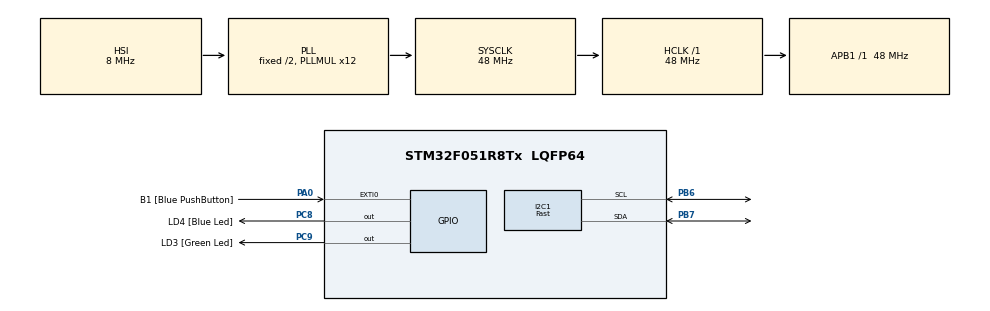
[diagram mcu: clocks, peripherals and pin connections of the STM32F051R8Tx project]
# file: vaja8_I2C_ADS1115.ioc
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I2C1.I2C_Speed_Mode=I2C_Fast
I2C1.Timing=0x0000020B
Mcu.Family=STM32F0
Mcu.Name=STM32F051R8Tx
Mcu.Package=LQFP64
PA0.GPIO_Label=B1 [Blue PushButton]
PA0.GPIO_ModeDefaultEXTI=GPIO_MODE_EVT_RISING
PA0.Signal=GPXTI0
PA13.GPIO_Label=SWDIO
PA13.Mode=Serial_Wire
PA13.Signal=SYS_SWDIO
PA14.GPIO_Label=SWCLK
PA14.Mode=Serial_Wire
PA14.Signal=SYS_SWCLK
PB6.Mode=I2C
PB6.Signal=I2C1_SCL
PB7.Mode=I2C
PB7.Signal=I2C1_SDA
PC8.GPIO_Label=LD4 [Blue Led]
PC8.Signal=GPIO_Output
PC9.GPIO_Label=LD3 [Green Led]
PC9.Signal=GPIO_Output
ProjectManager.HeapSize=0x200
ProjectManager.StackSize=0x400
ProjectManager.TargetToolchain=STM32CubeIDE
RCC.AHBFreq_Value=48000000
RCC.APB1Freq_Value=48000000
RCC.APB1TimFreq_Value=48000000
RCC.HCLKFreq_Value=48000000
RCC.PLLMUL=RCC_PLL_MUL12
RCC.SYSCLKFreq_VALUE=48000000
RCC.SYSCLKSource=RCC_SYSCLKSOURCE_PLLCLK
board=STM32F0DISCOVERY

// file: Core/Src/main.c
/* USER CODE BEGIN Header */
/**
  ******************************************************************************
  * @file           : main.c
  * @brief          : Main program body
  ******************************************************************************
  * @attention
  *
  * Copyright (c) 2022 STMicroelectronics.
  * All rights reserved.
  *
  * This software is licensed under terms that can be found in the LICENSE file
  * in the root directory of this software component.
  * If no LICENSE file comes with this software, it is provided AS-IS.
  *
  ******************************************************************************
  */
/* USER CODE END Header */
#include "main.h"

I2C_HandleTypeDef hi2c1;

void SystemClock_Config(void);
static void MX_GPIO_Init(void);
static void MX_I2C1_Init(void);

/* USER CODE BEGIN 0 */
#define ADS1115_ADDRESS 0x48
unsigned char ADSwrite[6];
int16_t reading;
float voltage[4];

const float voltageConv = 6.144/32768.0;

/* USER CODE END 0 */

int main(void)
{

  /* MCU Configuration--------------------------------------------------------*/

  /* Reset of all peripherals, Initializes the Flash interface and the Systick. */
  HAL_Init();

  /* Configure the system clock */
  SystemClock_Config();

  /* Initialize all configured peripherals */
  MX_GPIO_Init();
  MX_I2C1_Init();

  /* Infinite loop */
  while (1)
  {

    /* USER CODE BEGIN 3 */
	  for(int i=0; i<4; i++) {
		  ADSwrite[0] = 0x01;//naslov registra
		  switch(i) {// spreminjamo bite od 14 ÷ 12, str. 19:
		  	  case(0):
		  			  ADSwrite[1] = 0xC1;//binarno je 11000001
		  	  	  	  break;
		  	  case(1):
		  			  ADSwrite[1] = 0xD1;//binarno je 11010001
		  	  	  	  break;
		  	  case(2):
		  			  ADSwrite[1] = 0xE1;//binarno je 11100001
		  	  	  	  break;
		  	  case(3):
		  			  ADSwrite[1] = 0xF1;//binarno je 11110001
		  	  	  	  break;
		  }
		  ADSwrite[2] = 0x83;//to so biti od 7 ÷ 0: 10000011
		  HAL_I2C_Master_Transmit(&hi2c1, ADS1115_ADDRESS<<1,ADSwrite,3, 100);
		  ADSwrite[0] = 0x00;
		  HAL_I2C_Master_Transmit(&hi2c1, ADS1115_ADDRESS<<1,ADSwrite,1, 100);
		  HAL_Delay(20);
		  HAL_I2C_Master_Receive(&hi2c1, ADS1115_ADDRESS<<1,ADSwrite,2, 100);
		  reading = (ADSwrite[0] << 8 | ADSwrite[1]);
		  if (reading < 0 ) {
			  reading = 0;
		  }
		  voltage[i] = reading*voltageConv;
	  }
  }
  /* USER CODE END 3 */
}

void SystemClock_Config(void)
{
  RCC_OscInitTypeDef RCC_OscInitStruct = {0};
  RCC_ClkInitTypeDef RCC_ClkInitStruct = {0};
  RCC_PeriphCLKInitTypeDef PeriphClkInit = {0};

  /** Initializes the RCC Oscillators according to the specified parameters
  * in the RCC_OscInitTypeDef structure.
  */
  RCC_OscInitStruct.OscillatorType = RCC_OSCILLATORTYPE_HSI;
  RCC_OscInitStruct.HSIState = RCC_HSI_ON;
  RCC_OscInitStruct.HSICalibrationValue = RCC_HSICALIBRATION_DEFAULT;
  RCC_OscInitStruct.PLL.PLLState = RCC_PLL_ON;
  RCC_OscInitStruct.PLL.PLLSource = RCC_PLLSOURCE_HSI;
  RCC_OscInitStruct.PLL.PLLMUL = RCC_PLL_MUL12;
  RCC_OscInitStruct.PLL.PREDIV = RCC_PREDIV_DIV1;
  if (HAL_RCC_OscConfig(&RCC_OscInitStruct) != HAL_OK)
  {
    Error_Handler();
  }

  /** Initializes the CPU, AHB and APB buses clocks
  */
  RCC_ClkInitStruct.ClockType = RCC_CLOCKTYPE_HCLK|RCC_CLOCKTYPE_SYSCLK
                              |RCC_CLOCKTYPE_PCLK1;
  RCC_ClkInitStruct.SYSCLKSource = RCC_SYSCLKSOURCE_PLLCLK;
  RCC_ClkInitStruct.AHBCLKDivider = RCC_SYSCLK_DIV1;
  RCC_ClkInitStruct.APB1CLKDivider = RCC_HCLK_DIV1;

  if (HAL_RCC_ClockConfig(&RCC_ClkInitStruct, FLASH_LATENCY_1) != HAL_OK)
  {
    Error_Handler();
  }
  PeriphClkInit.PeriphClockSelection = RCC_PERIPHCLK_I2C1;
  PeriphClkInit.I2c1ClockSelection = RCC_I2C1CLKSOURCE_HSI;
  if (HAL_RCCEx_PeriphCLKConfig(&PeriphClkInit) != HAL_OK)
  {
    Error_Handler();
  }
}

static void MX_I2C1_Init(void)
{

  hi2c1.Instance = I2C1;
  hi2c1.Init.Timing = 0x0000020B;
  hi2c1.Init.OwnAddress1 = 0;
  hi2c1.Init.AddressingMode = I2C_ADDRESSINGMODE_7BIT;
  hi2c1.Init.DualAddressMode = I2C_DUALADDRESS_DISABLE;
  hi2c1.Init.OwnAddress2 = 0;
  hi2c1.Init.OwnAddress2Masks = I2C_OA2_NOMASK;
  hi2c1.Init.GeneralCallMode = I2C_GENERALCALL_DISABLE;
  hi2c1.Init.NoStretchMode = I2C_NOSTRETCH_DISABLE;
  if (HAL_I2C_Init(&hi2c1) != HAL_OK)
  {
    Error_Handler();
  }

  /** Configure Analogue filter
  */
  if (HAL_I2CEx_ConfigAnalogFilter(&hi2c1, I2C_ANALOGFILTER_ENABLE) != HAL_OK)
  {
    Error_Handler();
  }

  /** Configure Digital filter
  */
  if (HAL_I2CEx_ConfigDigitalFilter(&hi2c1, 0) != HAL_OK)
  {
    Error_Handler();
  }

}

static void MX_GPIO_Init(void)
{
  GPIO_InitTypeDef GPIO_InitStruct = {0};

  /* GPIO Ports Clock Enable */
  __HAL_RCC_GPIOA_CLK_ENABLE();
  __HAL_RCC_GPIOC_CLK_ENABLE();
  __HAL_RCC_GPIOB_CLK_ENABLE();

  /*Configure GPIO pin Output Level */
  HAL_GPIO_WritePin(GPIOC, LD4_Pin|LD3_Pin, GPIO_PIN_RESET);

  /*Configure GPIO pin : B1_Pin */
  GPIO_InitStruct.Pin = B1_Pin;
  GPIO_InitStruct.Mode = GPIO_MODE_EVT_RISING;
  GPIO_InitStruct.Pull = GPIO_NOPULL;
  HAL_GPIO_Init(B1_GPIO_Port, &GPIO_InitStruct);

  /*Configure GPIO pins : LD4_Pin LD3_Pin */
  GPIO_InitStruct.Pin = LD4_Pin|LD3_Pin;
  GPIO_InitStruct.Mode = GPIO_MODE_OUTPUT_PP;
  GPIO_InitStruct.Pull = GPIO_NOPULL;
  GPIO_InitStruct.Speed = GPIO_SPEED_FREQ_LOW;
  HAL_GPIO_Init(GPIOC, &GPIO_InitStruct);

}

void Error_Handler(void)
{
  __disable_irq();
  while (1)
  {
  }
}
